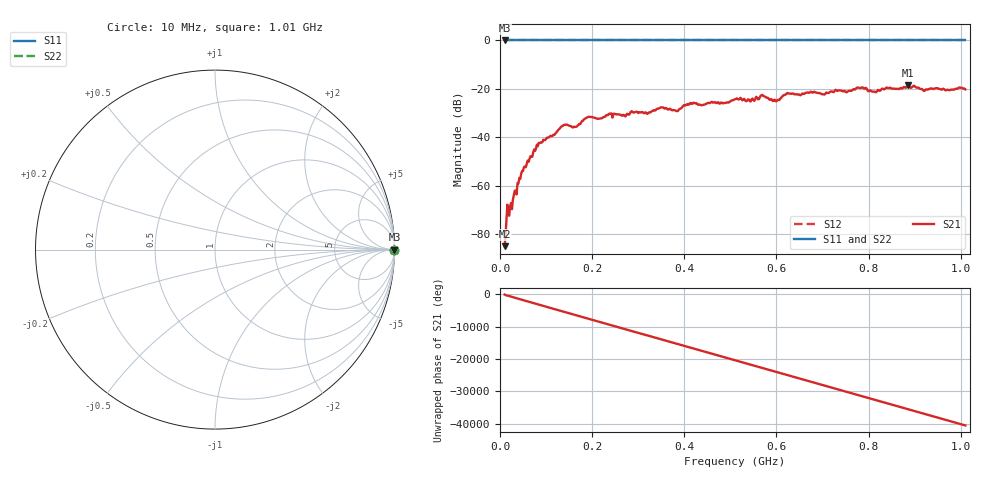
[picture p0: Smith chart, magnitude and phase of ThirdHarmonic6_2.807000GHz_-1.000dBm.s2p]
! 8/17/2025 7:21:06 AM
! C:\ANRITSUVNA\TEMP\TEMP.S2P
! CHANNEL.1
! TR.MEASUREMENT
! RAW.DATA
! RF.CORRECTION.OFF
! AVERAGING.OFF
! IF.BANDWIDTH: 5KHZ
! SWEEPTYPE:  FREQ.SWEEP(Linear)
! Reference Plane Port Info
! PORT:  PORT1  PORT2
! DISTANCE:  0  m  0  m
! TIME:  0  s  0  s
! PHASE.OFFSET:  0  deg.  0  deg.
! LOSS:  0  dB  0  dB
! REF.LOSS:  0  dB  0  dB
! REF.FREQ:  0  Hz  0  Hz
! Power Info
! POWER:  -20  dBm  -20  dBm
! EFF.POWER:  -20  dBm  -20  dBm
! SOURCE.ATTEN:  0  dB  0  dB
! TEST.ATTEN:  0  dB  0  dB
# GHZ S RI R 50.0
! FREQ.GHZ  S11RE  S11IM  S21RE  S21IM  S12RE  S12IM  S22RE  S22IM
!; PortSelection: Port_12
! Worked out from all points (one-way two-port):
!   501 points, 10 MHz to 1.01 GHz, reference 50 ohm
!   highest |S21| = -18.51 dB at 886 MHz (marker M1); lowest = -85.0 dB at 10 MHz (marker M2)
!   lowest |S11| = 0.0 dB at 10 MHz (marker M3)
!   |S11| at or under -10 dB: nowhere
!   |S22| runs from 0.0 to 0.0 dB; largest |S21 - S12| = 1.1
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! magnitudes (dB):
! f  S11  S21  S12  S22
! 10 MHz  0.0  -85.0  0.0  0.0
! 20 MHz  0.0  -72.4  0.0  0.0
! 22 MHz  0.0  -68.5  0.0  0.0
! 46 MHz  0.0  -55.0  0.0  0.0
! 82 MHz  0.0  -43.7  0.0  0.0
! 136 MHz  0.0  -35.3  0.0  0.0
! 162 MHz  0.0  -35.7  0.0  0.0
! 178 MHz  0.0  -33.3  0.0  0.0
! 194 MHz  0.0  -31.6  0.0  0.0
! 322 MHz  0.0  -29.9  0.0  0.0
! 344 MHz  0.0  -28.2  0.0  0.0
! 384 MHz  0.0  -29.2  0.0  0.0
! 416 MHz  0.0  -26.2  0.0  0.0
! 510 MHz  0.0  -24.3  0.0  0.0
! 570 MHz  0.0  -22.6  0.0  0.0
! 596 MHz  0.0  -24.5  0.0  0.0
! 624 MHz  0.0  -21.7  0.0  0.0
! 678 MHz  0.0  -21.6  0.0  0.0
! 812 MHz  0.0  -21.1  0.0  0.0
! 844 MHz  0.0  -19.7  0.0  0.0
! 886 MHz  0.0  -18.5  0.0  0.0
! 1.01 GHz  0.0  -20.2  0.0  0.0
